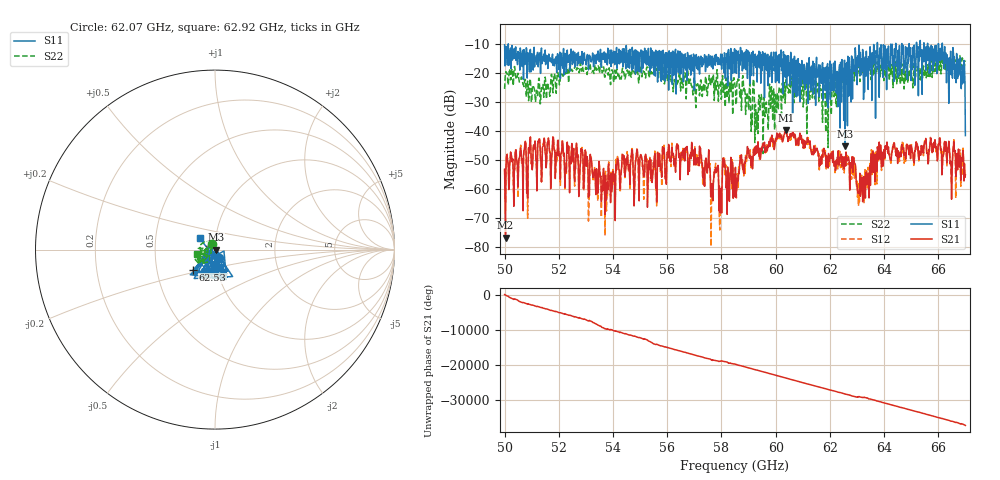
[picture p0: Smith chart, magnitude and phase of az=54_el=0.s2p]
!Created with skrf (http://scikit-rf.org).
# GHz S RI R 50.0
!freq ReS11 ImS11 ReS21 ImS21 ReS12 ImS12 ReS22 ImS22
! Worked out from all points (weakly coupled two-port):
!   1001 points, 50 GHz to 67 GHz, reference 50 ohm
!   highest |S21| = -39.74 dB at 60.37 GHz (marker M1); lowest = -76.8 dB at 50.03 GHz (marker M2)
!   lowest |S11| = -45.3 dB at 62.56 GHz (marker M3), VSWR 1.01, Z = 50.5 + j0.044 ohm
!   |S11| at or under -10 dB: 50.14 GHz to 63.75 GHz (13.61 GHz wide, 23.9 % of centre); 63.76 GHz to 64.25 GHz (490.6 MHz wide, 0.767 % of centre); 66.15 GHz to end of sweep (the widest 3 of 14)
!   |S22| runs from -47.7 to -13.9 dB; largest |S21 - S12| = 0.0021
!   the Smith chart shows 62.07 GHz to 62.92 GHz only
!   S11 on the Smith chart (normalised r, x): 62.07 GHz: 1.04, -0.09; 62.53 GHz: 0.77, -0.18; 62.92 GHz: 0.84, +0.11
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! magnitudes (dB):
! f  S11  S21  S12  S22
! 50 GHz  -10.2  -53.1  -53.1  -25.4
! 50.03 GHz  -12.7  -76.8  -64.3  -20.0
! 51.53 GHz  -16.3  -52.6  -51.9  -27.2
! 52.84 GHz  -14.1  -47.1  -46.6  -19.3
! 53.71 GHz  -16.3  -68.7  -76.0  -21.4
! 55.68 GHz  -13.6  -50.8  -51.3  -22.0
! 56.66 GHz  -13.3  -46.2  -45.9  -20.0
! 57.94 GHz  -16.1  -67.8  -74.1  -24.0
! 58.13 GHz  -13.3  -51.4  -52.2  -30.4
! 58.5 GHz  -19.8  -62.7  -54.7  -24.3
! 59.32 GHz  -23.1  -47.4  -47.9  -33.3
! 60.37 GHz  -15.6  -39.7  -40.0  -24.6
! 61.34 GHz  -23.8  -48.1  -46.4  -25.6
! 62.07 GHz  -26.1  -48.7  -46.5  -28.7
! 62.53 GHz  -15.6  -53.0  -54.4  -19.4
! 62.56 GHz  -45.3  -49.3  -50.0  -19.8
! 62.92 GHz  -19.4  -51.1  -52.5  -19.8
! 63.23 GHz  -14.1  -62.8  -57.5  -20.7
! 64.18 GHz  -17.6  -48.1  -48.0  -18.7
! 66.08 GHz  -15.7  -46.5  -44.3  -15.6
! 66.9 GHz  -17.2  -47.5  -46.3  -15.1
! 67 GHz  -41.5  -55.0  -55.5  -15.6
